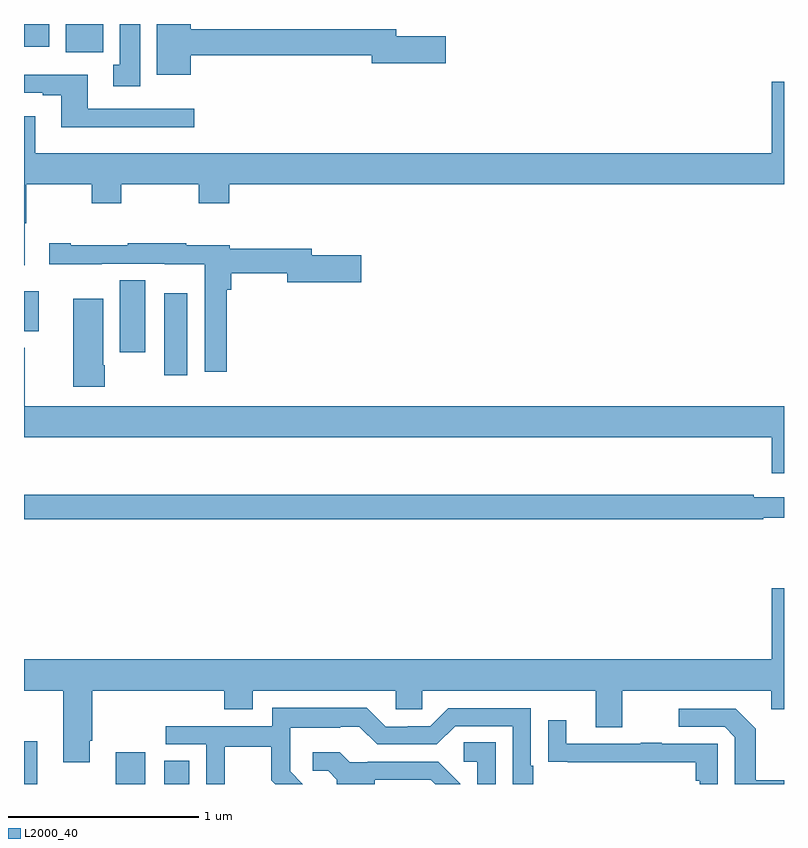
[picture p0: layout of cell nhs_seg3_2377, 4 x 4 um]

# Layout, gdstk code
import gdstk
lib = gdstk.Library(unit=1e-6, precision=1e-09)
def R(c, l, rs):  # rectangles x0, y0, x1, y1
    for r in rs: c.add(gdstk.rectangle(r[:2], r[2:], *l))
def P(c, l, *ps):  # polygons
    for p in ps: c.add(gdstk.Polygon(p, *l))
L2000_40 = (2000, 40)

nhs_seg3_2377 = lib.new_cell('nhs_seg3_2377')
R(nhs_seg3_2377, L2000_40, [(233,724.4,233.07,724.624), (233.483,724.4,233.638,724.567), (233.738,724.4,233.869,724.523), (233.738,726.552,233.86,726.982), (233.504,726.672,233.638,727.052), (233,726.782,233.077,726.994), (233.219,728.252,233.416,728.4), (233,728.28,233.134,728.4)])
P(nhs_seg3_2377, L2000_40, [(233.878,728.236),(234.83,728.236),(234.83,728.194),(235.219,728.194),(235.219,728.336),(234.958,728.336),(234.958,728.372),(233.878,728.372),(233.878,728.4),(233.699,728.4),(233.699,728.132),(233.878,728.132)],
  [(233.611,728.4),(233.504,728.4),(233.504,728.186),(233.471,728.186),(233.471,728.073),(233.611,728.073)],
  [(233.896,727.953),(233.335,727.953),(233.335,728.134),(233,728.134),(233,728.037),(233.099,728.037),(233.099,728.025),(233.195,728.025),(233.195,727.856),(233.896,727.856)],
  [(233.005,727.352),(233.013,727.352),(233.013,727.556),(233.356,727.556),(233.356,727.457),(233.511,727.457),(233.511,727.556),(233.92,727.556),(233.92,727.457),(234.08,727.457),(234.08,727.556),(237,727.556),(237,728.095),(236.936,728.095),(236.936,727.72),(233.059,727.72),(233.059,727.915),(233,727.915),(233,727.131),(233.005,727.131)],
  [(234.068,727.001),(234.09,727.001),(234.09,727.087),(234.386,727.087),(234.386,727.04),(234.775,727.04),(234.775,727.182),(234.514,727.182),(234.514,727.216),(234.082,727.216),(234.082,727.236),(233.855,727.236),(233.855,727.246),(233.545,727.246),(233.545,727.236),(233.245,727.236),(233.245,727.246),(233.133,727.246),(233.133,727.136),(233.408,727.136),(233.408,727.137),(233.742,727.137),(233.742,727.136),(233.952,727.136),(233.952,726.57),(234.068,726.57)],
  [(233.424,726.604),(233.416,726.604),(233.416,726.955),(233.258,726.955),(233.258,726.492),(233.424,726.492)],
  [(237,726.388),(233.005,726.388),(233.005,726.697),(233,726.697),(233,726.224),(236.936,726.224),(236.936,726.036),(237,726.036)],
  [(236.89,725.802),(237,725.802),(237,725.91),(236.84,725.91),(236.84,725.923),(233,725.923),(233,725.794),(236.89,725.794)],
  [(233.347,724.627),(233.36,724.627),(233.36,724.892),(234.053,724.892),(234.053,724.793),(234.205,724.793),(234.205,724.892),(234.957,724.892),(234.957,724.794),(235.095,724.794),(235.095,724.892),(236.009,724.892),(236.009,724.698),(236.149,724.698),(236.149,724.892),(236.933,724.892),(236.933,724.793),(237,724.793),(237,725.431),(236.936,725.431),(236.936,725.056),(233,725.056),(233,724.892),(233.207,724.892),(233.207,724.515),(233.347,724.515)],
  [(234.057,724.596),(234.301,724.596),(234.301,724.421),(234.322,724.4),(234.466,724.4),(234.4,724.466),(234.4,724.563),(234.402,724.563),(234.402,724.697),(234.665,724.697),(234.665,724.701),(234.765,724.701),(234.858,724.608),(235.173,724.608),(235.269,724.704),(235.572,724.704),(235.572,724.4),(235.681,724.4),(235.681,724.495),(235.668,724.495),(235.668,724.8),(235.233,724.8),(235.137,724.704),(235.019,724.704),(235.019,724.701),(234.903,724.701),(234.803,724.801),(234.306,724.801),(234.306,724.704),(233.745,724.704),(233.745,724.608),(233.958,724.608),(233.958,724.4),(234.057,724.4)],
  [(237,724.419),(236.851,724.419),(236.851,724.691),(236.745,724.797),(236.445,724.797),(236.445,724.701),(236.688,724.701),(236.742,724.647),(236.742,724.4),(237,724.4)],
  [(236.652,724.611),(236.357,724.611),(236.357,724.616),(236.245,724.616),(236.245,724.611),(235.855,724.611),(235.855,724.735),(235.759,724.735),(235.759,724.516),(235.861,724.516),(235.861,724.515),(236.536,724.515),(236.536,724.418),(236.556,724.418),(236.556,724.4),(236.652,724.4)],
  [(235.482,724.619),(235.314,724.619),(235.314,724.518),(235.386,724.518),(235.386,724.4),(235.482,724.4)],
  [(234.847,724.422),(235.142,724.422),(235.164,724.4),(235.296,724.4),(235.296,724.402),(235.18,724.518),(234.808,724.518),(234.808,724.515),(234.714,724.515),(234.662,724.567),(234.519,724.567),(234.519,724.47),(234.6,724.47),(234.647,724.423),(234.647,724.4),(234.847,724.4)])

lib.write_gds('nhs_seg3_2377.gds')
